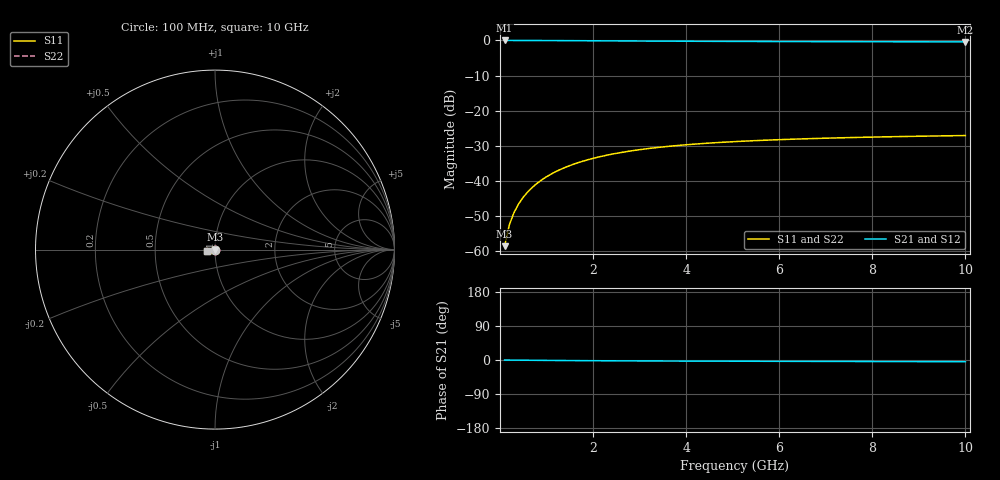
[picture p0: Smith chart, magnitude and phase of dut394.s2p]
! Touchstone file exported from HFSS 2024.1.0
!  File:  C:/UserFiles/LocalFiles/RDL_TSV_Batchsim/temp_TSV1_394_1779624183.aedt
!  Generated:  08:07:49 PM May 24, 2026
!  Design:  TSV1
!  Project:  temp_TSV1_394_1779624183
!  Setup:  Setup1
!  Solution:  Sweep
! Variables:
!  dtsv = 10.74um
!  hbump = 3um
!  htsv = 70.03um
!  lrdl = 252.1521522um
!  p = 40
!  p1 = 44.99um
!  t = 500um
!  trdl = 3um
!  wrdl = 24.89489489um
# GHz S MA R 50.000000
! Terminal data exported
! Port[1] = TSV22_T1
! Port[2] = TSV22_T2
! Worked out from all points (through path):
!   100 points, 100 MHz to 10 GHz, reference 50 ohm
!   highest |S21| = 0.00 dB at 100 MHz (marker M1); lowest = -0.4 dB at 10 GHz (marker M2)
!   lowest |S11| = -58.5 dB at 100 MHz (marker M3), VSWR 1.00, Z = 50 - j0.118 ohm
!   |S11| at or under -10 dB: start of sweep to end of sweep
!   |S22| runs from -58.5 to -27.1 dB; largest |S21 - S12| = 4.7e-15
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0.1  0.001185 -85.9  0.9998 -0.1  0.9998 -0.1  0.001185 -85.9
! Gamma 0 0 0 0
! Port Impedance 50 0 50 0
0.2  0.002363 -90.2  0.9997 -0.2  0.9997 -0.2  0.002363 -90.2
0.3  0.003543 -92.7  0.9995 -0.3  0.9995 -0.3  0.003543 -92.7
0.4  0.004719 -94.8  0.9993 -0.4  0.9993 -0.4  0.004719 -94.8
0.5  0.005887 -96.7  0.999 -0.5  0.999 -0.5  0.005887 -96.7
0.6  0.007044 -98.5  0.9986 -0.6  0.9986 -0.6  0.007044 -98.5
0.7  0.008187 -100.2  0.9982 -0.8  0.9982 -0.8  0.008187 -100.2
0.8  0.009313 -101.9  0.9977 -0.9  0.9977 -0.9  0.009313 -101.9
0.9  0.01042 -103.5  0.9972 -1.0  0.9972 -1.0  0.01042 -103.5
1.1  0.01257 -106.7  0.996 -1.1  0.996 -1.1  0.01257 -106.7
1.4  0.01562 -111.3  0.994 -1.4  0.994 -1.4  0.01562 -111.3
1.6  0.01753 -114.2  0.9925 -1.6  0.9925 -1.6  0.01753 -114.2
1.8  0.01932 -116.9  0.9909 -1.7  0.9909 -1.7  0.01932 -116.9
2.1  0.02182 -120.9  0.9885 -1.9  0.9885 -1.9  0.02182 -120.9
2.5  0.02478 -125.7  0.9853 -2.2  0.9853 -2.2  0.02478 -125.7
2.9  0.02736 -130.0  0.9821 -2.4  0.9821 -2.4  0.02736 -130.0
3.4  0.0301 -134.9  0.9785 -2.6  0.9785 -2.6  0.0301 -134.9
4.2  0.03359 -141.6  0.9734 -2.9  0.9734 -2.9  0.03359 -141.6
5.1  0.03655 -147.9  0.9687 -3.2  0.9687 -3.2  0.03655 -147.9
6.7  0.04018 -156.7  0.9626 -3.7  0.9626 -3.7  0.04018 -156.7
8.4  0.04271 -164.0  0.9582 -4.1  0.9582 -4.1  0.04271 -164.0
10  0.0444 -169.6  0.9553 -4.5  0.9553 -4.5  0.04439 -169.6
